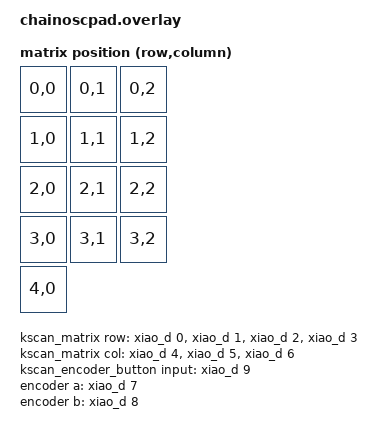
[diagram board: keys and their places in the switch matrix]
#include <dt-bindings/zmk/matrix_transform.h>
#include <zephyr/dt-bindings/gpio/gpio.h>
#include "chainoscpad-layouts.dtsi"

/ {
    chosen {
        zmk,physical-layout = &chainoscpad_layout;
    };

    leds {
        compatible = "gpio-leds";

        chainoscpad_led: chainoscpad_led {
            gpios = <&xiao_d 10 GPIO_ACTIVE_HIGH>;
            default-state = "on";
        };
    };

    kscan_matrix: kscan_matrix {
        compatible = "zmk,kscan-gpio-matrix";
        diode-direction = "col2row";
        row-gpios
            = <&xiao_d 0 (GPIO_ACTIVE_HIGH | GPIO_PULL_DOWN)>
            , <&xiao_d 1 (GPIO_ACTIVE_HIGH | GPIO_PULL_DOWN)>
            , <&xiao_d 2 (GPIO_ACTIVE_HIGH | GPIO_PULL_DOWN)>
            , <&xiao_d 3 (GPIO_ACTIVE_HIGH | GPIO_PULL_DOWN)>
            ;
        col-gpios
            = <&xiao_d 4 GPIO_ACTIVE_HIGH>
            , <&xiao_d 5 GPIO_ACTIVE_HIGH>
            , <&xiao_d 6 GPIO_ACTIVE_HIGH>
            ;
    };

    kscan_encoder_button: kscan_encoder_button {
        compatible = "zmk,kscan-gpio-direct";
        input-gpios = <&xiao_d 9 (GPIO_ACTIVE_LOW | GPIO_PULL_UP)>;
    };

    kscan_composite: kscan_composite {
        compatible = "zmk,kscan-composite";

        matrix {
            kscan = <&kscan_matrix>;
            row-offset = <0>;
            col-offset = <0>;
        };

        encoder_button {
            kscan = <&kscan_encoder_button>;
            row-offset = <4>;
            col-offset = <0>;
        };
    };

    default_transform: keymap_transform_0 {
        compatible = "zmk,matrix-transform";
        rows = <5>;
        columns = <3>;

        map = <
            RC(0,0) RC(0,1) RC(0,2)
            RC(1,0) RC(1,1) RC(1,2)
            RC(2,0) RC(2,1) RC(2,2)
            RC(3,0) RC(3,1) RC(3,2)
            RC(4,0)
        >;
    };

    encoder: encoder {
        compatible = "alps,ec11";
        a-gpios = <&xiao_d 7 (GPIO_ACTIVE_HIGH | GPIO_PULL_UP)>;
        b-gpios = <&xiao_d 8 (GPIO_ACTIVE_HIGH | GPIO_PULL_UP)>;
        steps = <24>;
        status = "okay";
    };

    sensors: sensors {
        compatible = "zmk,keymap-sensors";
        sensors = <&encoder>;
        triggers-per-rotation = <24>;
    };
};

&chainoscpad_layout {
    kscan = <&kscan_composite>;
    transform = <&default_transform>;
};
